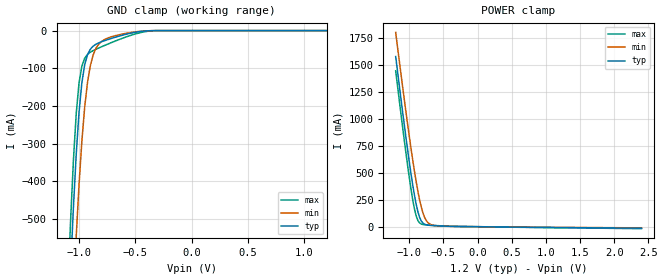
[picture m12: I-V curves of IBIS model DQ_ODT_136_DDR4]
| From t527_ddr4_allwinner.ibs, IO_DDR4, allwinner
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|   Model DQ_ODT_136_DDR4
[Model] DQ_ODT_136_DDR4
Model_type Input
Polarity   Non-Inverting
Enable   Active-High
Vinl =  0.600V
Vinh =  0.600V
C_comp   1.608pF   1.573pF   1.653pF
C_comp_power_clamp   0.511pF   0.493pF   0.532pF
C_comp_gnd_clamp   0.837pF   0.815pF   0.859pF
[Model Spec]
Vinh   0.600V   0.570V   0.630V
Vinl   0.600V   0.570V   0.630V
[Temperature Range]   25.000   0.125k   -40.000
[Voltage Range]   1.200V   1.140V   1.260V
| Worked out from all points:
|   GND clamp passes 1 mA (typ) near -0.41 V on its own axis
|   POWER clamp passes 1 mA (typ) near -0.13 V on its own axis
[GND_clamp]
|Voltage   I(typ)   I(min)   I(max)
-1.2V     -1.578A    -1.765A    -1.486A
-1.1V     -813.2mA   -1.042A    -686.2mA
-1.075V   -633.7mA   -866.6mA   -503.6mA
-1.05V    -469.2mA   -699.6mA   -344.1mA
-1.025V   -327.5mA   -545.2mA   -219.8mA
-1V       -216.1mA   -408.2mA   -138.3mA
-950mV    -90.56mA   -203mA     -73.38mA
-925mV    -63.88mA   -137.4mA   -63.23mA
-875mV    -41.36mA   -64.63mA   -53.16mA
-775mV    -26.83mA   -23.9mA    -39.66mA
-475mV    -3.165mA   -2.458mA   -6.802mA
1.2V      0A         0A         0A
[POWER_clamp]
|Voltage   I(typ)   I(min)   I(max)
-1.2V     1.574A     1.798A     1.442A
-1.1V     1.069A     1.303A     928.6mA
-1.025V   709.8mA    946.6mA    564.8mA
-975mV    487.4mA    721.8mA    344.9mA
-925mV    290.5mA    512.9mA    164.3mA
-900mV    207.3mA    416.9mA    99.71mA
-850mV    86.79mA    249.3mA    34.91mA
-800mV    32.67mA    126mA      20.27mA
-725mV    13.98mA    35.81mA    15.3mA
-625mV    9.196mA    10.36mA    11.18mA
-375mV    3.114mA    2.901mA    3.689mA
2.4V      -14.06mA   -10.93mA   -18.15mA
